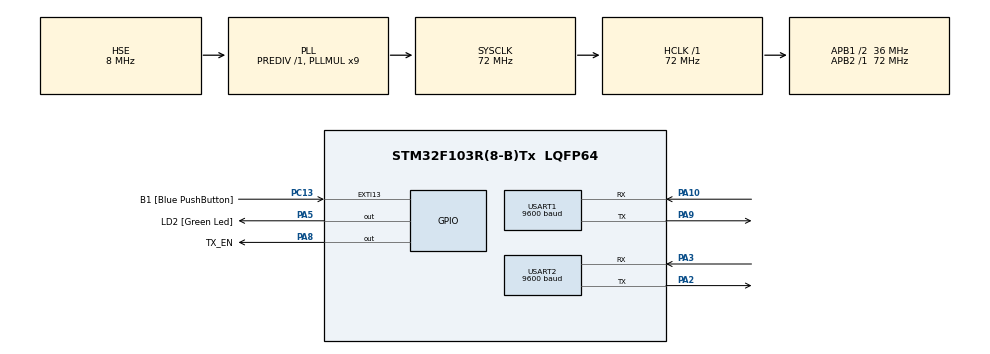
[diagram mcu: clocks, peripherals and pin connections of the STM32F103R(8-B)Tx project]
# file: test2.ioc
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Mcu.Family=STM32F1
Mcu.Name=STM32F103R(8-B)Tx
Mcu.Package=LQFP64
NVIC.EXTI15_10_IRQn=true\:0\:0\:false\:false\:true\:true\:true\:true
NVIC.FLASH_IRQn=true\:0\:0\:false\:false\:true\:true\:true\:true
NVIC.PVD_IRQn=true\:0\:0\:false\:false\:true\:true\:true\:true
NVIC.PriorityGroup=NVIC_PRIORITYGROUP_4
NVIC.RCC_IRQn=true\:0\:0\:false\:false\:true\:true\:false\:true
NVIC.USART1_IRQn=true\:0\:0\:false\:false\:true\:true\:true\:true
NVIC.USART2_IRQn=true\:0\:0\:false\:false\:true\:true\:true\:true
PA10.Mode=Asynchronous
PA10.Signal=USART1_RX
PA13.GPIO_Label=TMS
PA13.Mode=Serial_Wire
PA13.Signal=SYS_JTMS-SWDIO
PA14.GPIO_Label=TCK
PA14.Mode=Serial_Wire
PA14.Signal=SYS_JTCK-SWCLK
PA2.Mode=Asynchronous
PA2.Signal=USART2_TX
PA3.Mode=Asynchronous
PA3.Signal=USART2_RX
PA5.GPIO_Label=LD2 [Green Led]
PA5.GPIO_ModeDefaultOutputPP=GPIO_MODE_OUTPUT_PP
PA5.GPIO_PuPd=GPIO_NOPULL
PA5.GPIO_Speed=GPIO_SPEED_FREQ_LOW
PA5.Signal=GPIO_Output
PA8.GPIO_Label=TX_EN
PA8.Signal=GPIO_Output
PA9.Mode=Asynchronous
PA9.Signal=USART1_TX
PB3.GPIO_Label=SWO
PB3.Signal=SYS_JTDO-TRACESWO
PC13-TAMPER-RTC.GPIO_Label=B1 [Blue PushButton]
PC13-TAMPER-RTC.GPIO_PuPd=GPIO_NOPULL
PC13-TAMPER-RTC.Signal=GPXTI13
PC14-OSC32_IN.Mode=LSE-External-Oscillator
PC14-OSC32_IN.Signal=RCC_OSC32_IN
PC15-OSC32_OUT.Mode=LSE-External-Oscillator
PC15-OSC32_OUT.Signal=RCC_OSC32_OUT
PD0-OSC_IN.Mode=HSE-External-Clock-Source
PD0-OSC_IN.Signal=RCC_OSC_IN
PD1-OSC_OUT.Mode=HSE-External-Clock-Source
PD1-OSC_OUT.Signal=RCC_OSC_OUT
ProjectManager.HeapSize=0x200
ProjectManager.StackSize=0x400
ProjectManager.TargetToolchain=STM32CubeIDE
RCC.AHBFreq_Value=72000000
RCC.APB1CLKDivider=RCC_HCLK_DIV2
RCC.APB1Freq_Value=36000000
RCC.APB1TimFreq_Value=72000000
RCC.APB2Freq_Value=72000000
RCC.APB2TimFreq_Value=72000000
RCC.HCLKFreq_Value=72000000
RCC.PLLMUL=RCC_PLL_MUL9
RCC.PLLSourceVirtual=RCC_PLLSOURCE_HSE
RCC.RTCClockSelection=RCC_RTCCLKSOURCE_LSE
RCC.SYSCLKFreq_VALUE=72000000
RCC.SYSCLKSource=RCC_SYSCLKSOURCE_PLLCLK
RCC.USBFreq_Value=72000000
USART1.BaudRate=9600
USART1.VirtualMode=VM_ASYNC
USART2.BaudRate=9600
USART2.VirtualMode=VM_ASYNC
board=NUCLEO-F103RB

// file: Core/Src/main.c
/* USER CODE BEGIN Header */
/**
  ******************************************************************************
  * @file           : main.c
  * @brief          : Main program body
  ******************************************************************************
  * @attention
  *
  * Copyright (c) 2024 STMicroelectronics.
  * All rights reserved.
  *
  * This software is licensed under terms that can be found in the LICENSE file
  * in the root directory of this software component.
  * If no LICENSE file comes with this software, it is provided AS-IS.
  *
  ******************************************************************************
  */
/* USER CODE END Header */
#include "main.h"

/* USER CODE BEGIN Includes */
#include "modbus_crc.h"
#include <stdio.h>
#include "stm32f1xx_ll_usart.h"

/* USER CODE END Includes */

UART_HandleTypeDef huart1;// Handle for UART1 peripheral
UART_HandleTypeDef huart2;// Handle for UART2 peripheral

/* USER CODE BEGIN PV */
uint8_t RxData[100];// Buffer to store received data
uint8_t RxData_temp[100];// Temporary buffer for received data processing
uint8_t TxData[8]; // Buffer to store data to be transmitted
uint8_t i=0; // Index for received data buffer

void RxFuncData(void); // Function prototype for receiving data

/* USER CODE END PV */

void SystemClock_Config(void);
static void MX_GPIO_Init(void);
static void MX_USART1_UART_Init(void);
static void MX_USART2_UART_Init(void);
/* USER CODE BEGIN PFP */
void sendData(uint8_t *data);// Function prototype to send data
void toggle_debug_led(void);// Function prototype to toggle debug LED
//float extractFloatMidLittleEndian(uint8_t *data);
int __io_putchar(int ch);// Function prototype for printf redirection

/* USER CODE END PFP */
union FloatBytes {         // Union to convert between float and byte array
    uint8_t bytes[4];
    float value;
}floatVAr;

void RxFuncData(void) {
	 RxData[i] = LL_USART_ReceiveData8(USART1);// Receive data from USART1
           i++;// Increment index
}

void sendData (uint8_t *data)
{
	HAL_GPIO_WritePin(GPIOA, GPIO_PIN_8, GPIO_PIN_SET); // Set PA8 high to enable transmission
	    HAL_UART_Transmit(&huart1, data, 8, 1000);// Transmit data
	    HAL_GPIO_WritePin(GPIOA, GPIO_PIN_8, GPIO_PIN_RESET);// Set PA8 low to disable transmission

}
void toggle_debug_led(void)
{
    // Toggle the LED for debugging purposes
    HAL_GPIO_TogglePin(GPIOA, GPIO_PIN_5); // Adjust pin as needed
}
/* USER CODE END 0 */

//float extractFloatMidLittleEndian(uint8_t *data) {
 //   uint32_t temp = (data[3] << 24) | (data[2] << 16) | (data[1] << 8) | data[0];
   // return *((float*)&temp);
//}
int __io_putchar(int ch) {
    HAL_UART_Transmit(&huart2, (uint8_t *)&ch, 1, HAL_MAX_DELAY);
    return ch;
}

int main(void)
{

  /* USER CODE BEGIN 1 */
	 // Variables to store various electrical parameters such as voltages, currents, and power
	float voltagev1, voltagev2, voltagev3,AverageVoltageLN,VoltageV12,Voltagev23,voltagev31,averagevoltageLL,currentl1,currentl2,currentl3,averagecurrent,
		kW1,kW2,kW3,kVA1,kVA2,kVA3,kVAr1,kVAr2,kVAr3,TotalKW;

  /* USER CODE END 1 */

  /* MCU Configuration--------------------------------------------------------*/

  /* Reset of all peripherals, Initializes the Flash interface and the Systick. */
  HAL_Init();

  /* Configure the system clock */
  SystemClock_Config();

  /* Initialize all configured peripherals */
  MX_GPIO_Init();
  MX_USART1_UART_Init();
  MX_USART2_UART_Init();
  /* USER CODE BEGIN 2 */
  HAL_UART_Receive_IT(&huart1, RxData, 32);//// Start UART reception with interrupt

   TxData[0] = 0x01;  // slave address
 //  TxData[1] = 0x03;  // Function code for Read Holding Registers
   TxData[1] = 0x04;  // Function code for Read Input Registers

   /*
    * The function code 0x03 means we are reading Holding Registers
    * The Register address ranges from 40001 - 50000
    * The register address we input can range from 0-9999 (0x00-0x270F)
    * Here 0 corresponds to the Address 40001 and 9999 corresponds to 50000
    * Although we can only read 125 registers sequentially at once
    */
 //  TxData[2] = 0;
 //  TxData[3] = 0x04;
 //  //The Register address will be 00000000 00000100 = 4 + 40001 = 40005

   TxData[2] = 0; // Starting address high byte
   TxData[3] = 0x00; // Starting address low byte
   //The Register address will be 00000000 00000001 = 1 +30001 = 30002

   TxData[4] = 0;// Number of registers high byte
   TxData[5] = 0x2A;// Number of registers low byte (42 registers)
   // no of registers to read will be 00000000 00000101 = 42 Registers = 84Bytes

   uint16_t crc = crc16(TxData, 6);// Calculate CRC
   TxData[6] = crc&0xFF;   // CRC LOW
   TxData[7] = (crc>>8)&0xFF;  // CRC HIGH

  /* USER CODE END 2 */

  /* Infinite loop */
  while (1)
  {
	  HAL_Delay(1000);// Wait for 1 second
		  sendData(TxData);// Send Modbus request
		  toggle_debug_led(); // Toggle debug LED
		  HAL_Delay(1000);// Wait for 1 second

		  // Check if enough data is received
		  if (i >86 )
		  {
			RxData_temp[0] = RxData[0];// Process received data
			i=0;// Reset index
		    }

  // Extract and store voltage and current values from received data
		  int index = 3; // Starting index of RxData array for voltage values
		  for (int i = 0; i < 22; i++) {
		      floatVAr.bytes[1] = RxData[index++];
		      floatVAr.bytes[0] = RxData[index++];
		      floatVAr.bytes[3] = RxData[index++];
		      floatVAr.bytes[2] = RxData[index++];
		      switch (i) {
		          case 0:
		              voltagev1 = floatVAr.value;
		              break;
		          case 1:
		              voltagev2 = floatVAr.value;
		              break;
		          case 2:
		              voltagev3 = floatVAr.value;
		              break;
		          case 3:
		              AverageVoltageLN = floatVAr.value;
		              break;
		          case 4:
		              VoltageV12 = floatVAr.value;
		              break;
		          case 5:
		                 Voltagev23 = floatVAr.value;
		                 break;
		          case 6:
		                 voltagev31 = floatVAr.value;
		                 break;
		          case 7:
		                 averagevoltageLL = floatVAr.value;
		                 break;
		          case 8:
		                 currentl1 = floatVAr.value;
		                 break;
		          case 9:
		                 currentl2 = floatVAr.value;
		                 break;
		          case 10:
		                 currentl3 = floatVAr.value;
		                 break;
		          case 11:
		                 averagecurrent = floatVAr.value;
		                 break;
		          case 12:
		                  kW1 = floatVAr.value;
		                  break;
		          case 13:
		                  kW2 = floatVAr.value;
		                  break;
		          case 14:
		                  kW3 = floatVAr.value;
		                  break;
		          case 15:
		                  kVA1 = floatVAr.value;
		                  break;
		          case 16:
		                  kVA2 = floatVAr.value;
		                  break;
		          case 17:
		                  kVA3 = floatVAr.value;
		                  break;
		          case 18:
		                  kVAr1 = floatVAr.value;
		                  break;
		          case 19:
		                  kVAr2 = floatVAr.value;
		                  break;
		          case 20:
		                  kVAr3 = floatVAr.value;
		                  break;
		          case 21:
		                  TotalKW = floatVAr.value;
		                  break;

		      }

		  }
		  // Print extracted values
		         printf("Voltage V1: %.2f\r\n", voltagev1);
		         printf("Voltage V2: %.2f\r\n", voltagev2);
		         printf("Voltage V3: %.2f\r\n", voltagev3);
		         printf("Average Voltage LN: %.2f\r\n", AverageVoltageLN);
		         printf("Voltage V12: %.2f\r\n", VoltageV12);
		         printf("Voltage V23: %.2f\r\n", Voltagev23);
		         printf("Voltage V31: %.2f\r\n", voltagev31);
		         printf("Average Voltage LL: %.2f\r\n", averagevoltageLL);
		         printf("Current L1: %.2f\r\n", currentl1);
		         printf("Current L2: %.2f\r\n", currentl2);
		         printf("Current L3: %.2f\r\n", currentl3);
		         printf("Average Current: %.2f\r\n", averagecurrent);
		         printf("kW1: %.2f\r\n", kW1);
		         printf("kW2: %.2f\r\n", kW2);
		         printf("kW3: %.2f\r\n", kW3);
		         printf("kVA1: %.2f\r\n", kVA1);
		         printf("kVA2: %.2f\r\n", kVA2);
		         printf("kVA3: %.2f\r\n", kVA3);
		         printf("kVAr1: %.2f\r\n", kVAr1);
		         printf("kVAr2: %.2f\r\n", kVAr2);
		         printf("kVAr3: %.2f\r\n", kVAr3);
		         printf("Total KW: %.2f\r\n", TotalKW);

   }
 }

void SystemClock_Config(void)
{
  RCC_OscInitTypeDef RCC_OscInitStruct = {0};
  RCC_ClkInitTypeDef RCC_ClkInitStruct = {0};

  /** Initializes the RCC Oscillators according to the specified parameters
  * in the RCC_OscInitTypeDef structure.
  */
  RCC_OscInitStruct.OscillatorType = RCC_OSCILLATORTYPE_HSE;
  RCC_OscInitStruct.HSEState = RCC_HSE_BYPASS;
  RCC_OscInitStruct.HSEPredivValue = RCC_HSE_PREDIV_DIV1;
  RCC_OscInitStruct.HSIState = RCC_HSI_ON;
  RCC_OscInitStruct.PLL.PLLState = RCC_PLL_ON;
  RCC_OscInitStruct.PLL.PLLSource = RCC_PLLSOURCE_HSE;
  RCC_OscInitStruct.PLL.PLLMUL = RCC_PLL_MUL9;
  if (HAL_RCC_OscConfig(&RCC_OscInitStruct) != HAL_OK)
  {
    Error_Handler();
  }

  /** Initializes the CPU, AHB and APB buses clocks
  */
  RCC_ClkInitStruct.ClockType = RCC_CLOCKTYPE_HCLK|RCC_CLOCKTYPE_SYSCLK
                              |RCC_CLOCKTYPE_PCLK1|RCC_CLOCKTYPE_PCLK2;
  RCC_ClkInitStruct.SYSCLKSource = RCC_SYSCLKSOURCE_PLLCLK;
  RCC_ClkInitStruct.AHBCLKDivider = RCC_SYSCLK_DIV1;
  RCC_ClkInitStruct.APB1CLKDivider = RCC_HCLK_DIV2;
  RCC_ClkInitStruct.APB2CLKDivider = RCC_HCLK_DIV1;

  if (HAL_RCC_ClockConfig(&RCC_ClkInitStruct, FLASH_LATENCY_2) != HAL_OK)
  {
    Error_Handler();
  }
}

static void MX_USART1_UART_Init(void)
{

  huart1.Instance = USART1;
  huart1.Init.BaudRate = 9600;
  huart1.Init.WordLength = UART_WORDLENGTH_8B;
  huart1.Init.StopBits = UART_STOPBITS_1;
  huart1.Init.Parity = UART_PARITY_NONE;
  huart1.Init.Mode = UART_MODE_TX_RX;
  huart1.Init.HwFlowCtl = UART_HWCONTROL_NONE;
  huart1.Init.OverSampling = UART_OVERSAMPLING_16;
  if (HAL_UART_Init(&huart1) != HAL_OK)
  {
    Error_Handler();
  }

}

static void MX_USART2_UART_Init(void)
{

  huart2.Instance = USART2;
  huart2.Init.BaudRate = 9600;
  huart2.Init.WordLength = UART_WORDLENGTH_8B;
  huart2.Init.StopBits = UART_STOPBITS_1;
  huart2.Init.Parity = UART_PARITY_NONE;
  huart2.Init.Mode = UART_MODE_TX_RX;
  huart2.Init.HwFlowCtl = UART_HWCONTROL_NONE;
  huart2.Init.OverSampling = UART_OVERSAMPLING_16;
  if (HAL_UART_Init(&huart2) != HAL_OK)
  {
    Error_Handler();
  }

}

static void MX_GPIO_Init(void)
{
  GPIO_InitTypeDef GPIO_InitStruct = {0};

  /* GPIO Ports Clock Enable */
  __HAL_RCC_GPIOC_CLK_ENABLE();
  __HAL_RCC_GPIOD_CLK_ENABLE();
  __HAL_RCC_GPIOA_CLK_ENABLE();
  __HAL_RCC_GPIOB_CLK_ENABLE();

  /*Configure GPIO pin Output Level */
  HAL_GPIO_WritePin(GPIOA, LD2_Pin|TX_EN_Pin, GPIO_PIN_RESET);

  /*Configure GPIO pin : B1_Pin */
  GPIO_InitStruct.Pin = B1_Pin;
  GPIO_InitStruct.Mode = GPIO_MODE_IT_RISING;
  GPIO_InitStruct.Pull = GPIO_NOPULL;
  HAL_GPIO_Init(B1_GPIO_Port, &GPIO_InitStruct);

  /*Configure GPIO pins : LD2_Pin TX_EN_Pin */
  GPIO_InitStruct.Pin = LD2_Pin|TX_EN_Pin;
  GPIO_InitStruct.Mode = GPIO_MODE_OUTPUT_PP;
  GPIO_InitStruct.Pull = GPIO_NOPULL;
  GPIO_InitStruct.Speed = GPIO_SPEED_FREQ_LOW;
  HAL_GPIO_Init(GPIOA, &GPIO_InitStruct);

  /* EXTI interrupt init*/
  HAL_NVIC_SetPriority(EXTI15_10_IRQn, 0, 0);
  HAL_NVIC_EnableIRQ(EXTI15_10_IRQn);

}

void Error_Handler(void)
{
  __disable_irq();
  while (1)
  {
  }
}
